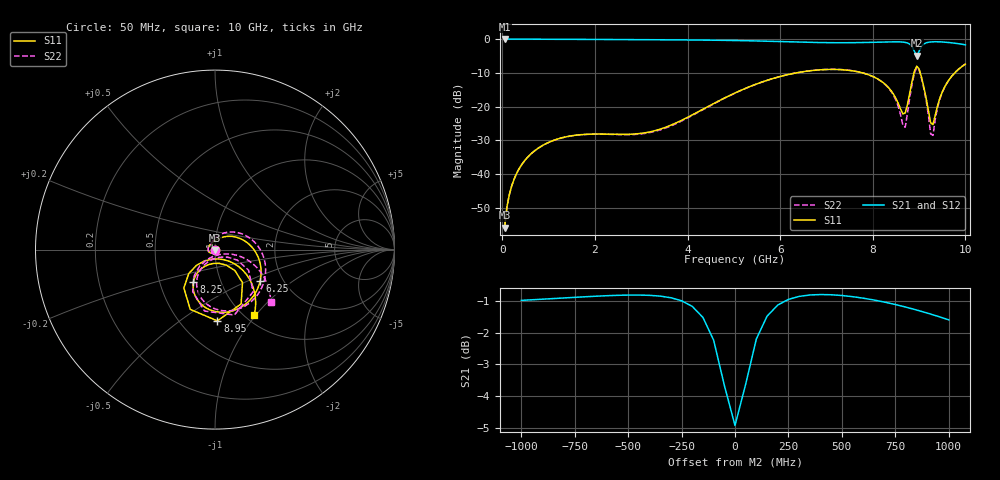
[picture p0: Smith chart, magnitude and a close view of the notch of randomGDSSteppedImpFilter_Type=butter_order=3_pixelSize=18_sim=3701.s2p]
! freq	dB(S11)	phase(S11)	dB(S12)	phase(S12)
!  dB(S21)	phase(S21)	dB(S22)	phase(S22)
!S-par simulation data
#  GHz  S  DB  R 50
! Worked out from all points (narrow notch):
!   200 points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, 50 MHz to 10 GHz, reference 50 ohm
!   highest |S21| = -0.01 dB at 50 MHz (marker M1); lowest = -4.9 dB at 8.95 GHz (marker M2)
!   notch at M2: 4.5 dB deep, 168 MHz wide at half that depth
!   lowest |S11| = -55.9 dB at 50 MHz (marker M3), VSWR 1.00, Z = 50 - j0.16 ohm
!   |S11| at or under -10 dB: start of sweep to 6.359 GHz; 7.77 GHz to 8.891 GHz (1.121 GHz wide, 13.5 % of centre); 9.024 GHz to 9.773 GHz (748.2 MHz wide, 7.96 % of centre)
!   |S22| runs from -55.9 to -7.4 dB; largest |S21 - S12| = 0
!   S11 on the Smith chart (normalised r, x): 50 MHz: 1.00, -0.00; 6.25 GHz: 1.54, -0.59; 8.25 GHz: 0.74, -0.28; 8.95 GHz: 0.74, -0.70; 10 GHz: 1.10, -0.98
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0.05  -55.90 -89.2  -0.01 -2.4  -0.01 -2.4  -55.90 -89.2
0.2  -43.68 -97.3  -0.02 -9.4  -0.02 -9.4  -43.68 -97.3
0.5  -35.76 -112.8  -0.03 -23.4  -0.03 -23.4  -35.76 -112.9
1.75  -28.28 -175.8  -0.10 -81.7  -0.10 -81.7  -28.31 -174.5
2.5  -28.25 145.0  -0.14 -117.0  -0.14 -117.0  -28.32 150.8
3.4  -26.74 96.1  -0.21 -159.7  -0.21 -159.7  -26.96 112.0
4.2  -21.77 58.2  -0.29 161.8  -0.29 161.8  -21.93 76.5
5.05  -15.82 20.3  -0.44 120.2  -0.44 120.2  -15.87 35.6
5.65  -12.54 -7.0  -0.61 90.5  -0.61 90.5  -12.55 6.2
6.25  -10.29 -34.6  -0.84 61.1  -0.84 61.1  -10.28 -22.9
6.7  -9.32 -55.1  -0.99 39.3  -0.99 39.3  -9.29 -44.5
7.5  -9.30 -91.2  -1.09 0.5  -1.09 0.5  -9.27 -82.3
8.25  -13.20 -123.4  -0.87 -38.7  -0.87 -38.7  -13.27 -118.2
8.35  -14.53 -126.3  -0.83 -44.6  -0.83 -44.6  -14.68 -122.4
8.7  -21.93 -73.2  -0.99 -68.6  -0.99 -68.6  -26.14 -60.0
8.85  -12.43 -50.2  -2.24 -83.1  -2.24 -83.1  -13.18 -31.5
8.95  -8.02 -88.1  -4.93 -74.9  -4.93 -74.9  -8.40 -73.5
9.05  -11.19 -129.0  -2.20 -67.1  -2.20 -67.1  -11.53 -117.8
9.25  -24.82 -111.0  -0.85 -86.4  -0.85 -86.4  -28.11 -106.0
9.3  -25.34 -72.8  -0.81 -90.5  -0.81 -90.5  -28.55 -46.6
9.5  -15.71 -35.7  -0.86 -105.4  -0.86 -105.4  -15.84 -15.7
10  -7.44 -59.0  -1.71 -138.7  -1.71 -138.7  -7.39 -43.3
